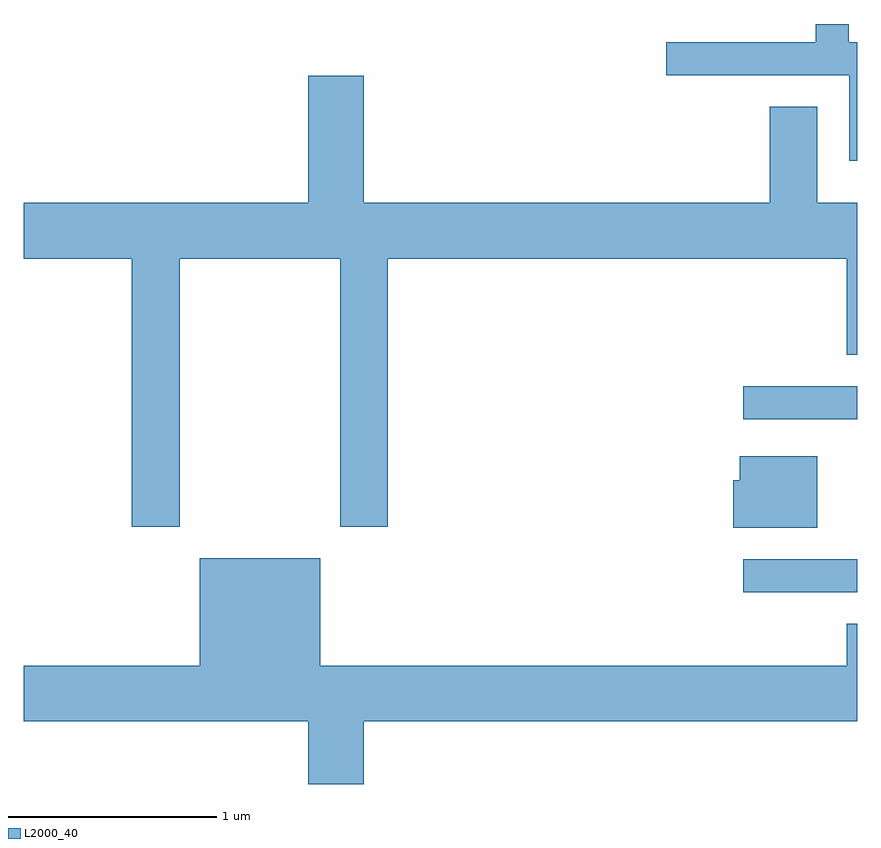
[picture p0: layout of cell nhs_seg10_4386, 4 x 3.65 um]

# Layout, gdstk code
import gdstk
lib = gdstk.Library(unit=1e-6, precision=1e-09)
def R(c, l, rs):  # rectangles x0, y0, x1, y1
    for r in rs: c.add(gdstk.rectangle(r[:2], r[2:], *l))
def P(c, l, *ps):  # polygons
    for p in ps: c.add(gdstk.Polygon(p, *l))
L2000_40 = (2000, 40)

nhs_seg10_4386 = lib.new_cell('nhs_seg10_4386')
R(nhs_seg10_4386, L2000_40, [(317.063,2187.796,317.611,2187.954), (317.063,2188.626,317.611,2188.784)])
P(nhs_seg10_4386, L2000_40, [(317.611,2190.434),(317.569,2190.434),(317.569,2190.522),(317.411,2190.522),(317.411,2190.434),(316.693,2190.434),(316.693,2190.276),(317.571,2190.276),(317.571,2189.866),(317.611,2189.866)],
  [(314.359,2189.396),(315.131,2189.396),(315.131,2188.111),(315.359,2188.111),(315.359,2189.396),(317.561,2189.396),(317.561,2188.936),(317.611,2188.936),(317.611,2189.664),(317.419,2189.664),(317.419,2190.124),(317.191,2190.124),(317.191,2189.664),(315.244,2189.664),(315.244,2190.274),(314.976,2190.274),(314.976,2189.664),(313.611,2189.664),(313.611,2189.396),(314.131,2189.396),(314.131,2188.111),(314.359,2188.111)],
  [(317.419,2188.449),(317.046,2188.449),(317.046,2188.334),(317.016,2188.334),(317.016,2188.106),(317.419,2188.106)],
  [(315.244,2187.176),(317.611,2187.176),(317.611,2187.644),(317.561,2187.644),(317.561,2187.444),(315.034,2187.444),(315.034,2187.959),(314.456,2187.959),(314.456,2187.444),(313.611,2187.444),(313.611,2187.176),(314.976,2187.176),(314.976,2186.876),(315.244,2186.876)])

lib.write_gds('nhs_seg10_4386.gds')
